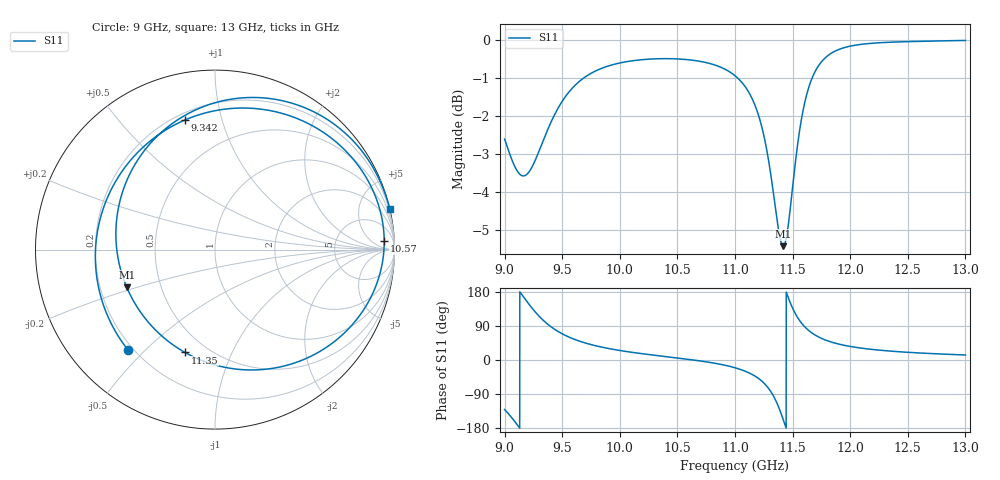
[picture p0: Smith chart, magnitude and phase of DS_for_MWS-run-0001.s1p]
! TOUCHSTONE file generated by CST DESIGN STUDIO
! Date and time: Tue Feb  4 18:09:17 2025
! Project name: C:\Work\MatlabApps\UnitCellOptimizationMatlab\CST\unitcell.cst
! Tree item: Tasks\Sweep1\SPara1\S-Parameters
! Header version: 2024
! Port assignment regex: !\s*Touchstone port\s*([0-9]+)\s*=\s*(CST MWS port|CST DES external port|CST DES block port)\s*(.+)\s* \(\"(.*)\"\)(\s*mode\s*([0-9]+))?.*
! Touchstone port assignment:
! Touchstone port 1 = CST DES external port 1 ("")
# GHz S MA R 50
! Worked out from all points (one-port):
!   4001 points, 9 GHz to 13 GHz, reference 50 ohm
!   lowest |S11| = -5.4 dB at 11.42 GHz (marker M1), VSWR 3.30, Z = 15.7 - j9.28 ohm
!   |S11| at or under -10 dB: nowhere
!   S11 on the Smith chart (normalised r, x): 9 GHz: 0.18, -0.45; 9.342 GHz: 0.24, +0.77; 10.57 GHz: 20, +17; 11.35 GHz: 0.38, -0.68; 13 GHz: -0.00, +8.63
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9  0.7407 -130.6
9.088  0.6817 -162.3
9.159  0.6623 168.6
9.254  0.6883 131.0
9.342  0.7418 102.9
9.414  0.7866 85.2
9.5  0.8311 69.1
9.712  0.8976 43.8
10  0.9338 25.1
10.5  0.9454 5.3
10.566  0.944 2.8
10.823  0.9283 -8.5
11  0.8983 -20.4
11.113  0.8575 -32.8
11.201  0.7992 -48.0
11.291  0.6949 -74.7
11.353  0.597 -106.3
11.385  0.5538 -129.0
11.418  0.5347 -156.8
11.458  0.5636 168.2
11.5  0.6399 136.7
11.562  0.7625 103.6
11.635  0.8617 79.1
11.705  0.9155 64.1
11.784  0.9488 52.8
12  0.9829 35.8
12.5  0.9965 20.3
13  1 13.2
